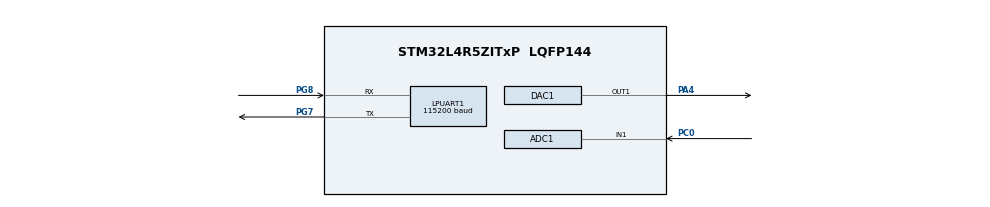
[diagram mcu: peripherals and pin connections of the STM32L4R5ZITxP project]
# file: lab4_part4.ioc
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ADC1.Channel-0\#ChannelRegularConversion=ADC_CHANNEL_1
ADC1.NbrOfConversion=1
ADC1.NbrOfConversionFlag=1
ADC1.OffsetNumber-0\#ChannelRegularConversion=ADC_OFFSET_NONE
ADC1.Rank-0\#ChannelRegularConversion=1
ADC1.SamplingTime-0\#ChannelRegularConversion=ADC_SAMPLETIME_2CYCLES_5
ADC1.master=1
DAC1.DAC_Trigger-DAC_OUT1=DAC_TRIGGER_T6_TRGO
Dma.DAC1_CH1.0.Direction=DMA_MEMORY_TO_PERIPH
Dma.DAC1_CH1.0.EventEnable=DISABLE
Dma.DAC1_CH1.0.Instance=DMA1_Channel1
Dma.DAC1_CH1.0.MemDataAlignment=DMA_MDATAALIGN_WORD
Dma.DAC1_CH1.0.MemInc=DMA_MINC_ENABLE
Dma.DAC1_CH1.0.Mode=DMA_CIRCULAR
Dma.DAC1_CH1.0.PeriphDataAlignment=DMA_PDATAALIGN_WORD
Dma.DAC1_CH1.0.PeriphInc=DMA_PINC_DISABLE
Dma.DAC1_CH1.0.Polarity=HAL_DMAMUX_REQUEST_GEN_RISING
Dma.DAC1_CH1.0.Priority=DMA_PRIORITY_LOW
Dma.DAC1_CH1.0.RequestNumber=1
Dma.DAC1_CH1.0.SignalID=NONE
Dma.DAC1_CH1.0.SyncEnable=DISABLE
Dma.DAC1_CH1.0.SyncPolarity=HAL_DMAMUX_SYNC_NO_EVENT
Dma.DAC1_CH1.0.SyncRequestNumber=1
Dma.DAC1_CH1.0.SyncSignalID=NONE
Dma.Request0=DAC1_CH1
LPUART1.BaudRate=115200
LPUART1.WordLength=UART_WORDLENGTH_8B
Mcu.Family=STM32L4
Mcu.Name=STM32L4R5ZITxP
Mcu.Package=LQFP144
NVIC.DMA1_Channel1_IRQn=true\:0\:0\:false\:false\:true\:false\:true\:true
NVIC.PriorityGroup=NVIC_PRIORITYGROUP_4
PA0.Signal=S_TIM2_CH1
PA1.Signal=ADCx_IN6
PA10.Signal=USB_OTG_FS_ID
PA13\ (JTMS/SWDIO).Signal=SYS_JTMS-SWDIO
PA14\ (JTCK/SWCLK).Signal=SYS_JTCK-SWCLK
PA3.Signal=ADCx_IN8
PA4.Signal=COMP_DAC11_group
PA5.Signal=SPI1_SCK
PA6.Signal=SPI1_MISO
PA7.Signal=SPI1_MOSI
PA8.Signal=USB_OTG_FS_SOF
PA9.Signal=USB_OTG_FS_VBUS
PB0.Signal=S_TIM3_CH3
PB1.Signal=ADCx_IN16
PB10.Signal=S_TIM2_CH3
PB12.Signal=SAI2_FS_A
PB13.Signal=SAI2_SCK_A
PB14.Signal=S_TIM15_CH1
PB15.Signal=SAI2_SD_A
PB2.Signal=COMP1_INP
PB3\ (JTDO/TRACESWO).Signal=SPI3_SCK
PB4\ (NJTRST).Signal=SPI3_MISO
PB5.Signal=SPI3_MOSI
PB6.Signal=COMP2_INP
PB8.Signal=I2C1_SCL
PB9.Signal=I2C1_SDA
PC0.Signal=ADCx_IN1
PC1.Signal=ADCx_IN2
PC10.Signal=SDMMC1_D2
PC11.Signal=SDMMC1_D3
PC12.Signal=SDMMC1_CK
PC13.Signal=SYS_WKUP2
PC14-OSC32_IN\ (PC14).Signal=RCC_OSC32_IN
PC15-OSC32_OUT\ (PC15).Signal=RCC_OSC32_OUT
PC2.Signal=ADCx_IN3
PC3.Signal=ADCx_IN4
PC4.Signal=ADCx_IN13
PC5.Signal=ADCx_IN14
PC6.Signal=SAI2_MCLK_A
PC7.Signal=S_TIM3_CH2
PC8.Signal=SDMMC1_D0
PC9.Signal=SDMMC1_D1
PD0.Signal=CAN1_RX
PD14.Signal=S_TIM4_CH3
PD15.Signal=S_TIM4_CH4
PD2.Signal=SDMMC1_CMD
PD3.Signal=USART2_CTS
PD4.Signal=USART2_RTS
PD5.Signal=USART2_TX
PD6.Signal=USART2_RX
PD8.Signal=USART3_TX
PD9.Signal=USART3_RX
PE0.Signal=S_TIM4_ETR
PE10.Signal=TIM1_CH2N
PE11.Signal=S_TIM1_CH2
PE12.Signal=TIM1_CH3N
PE13.Signal=S_TIM1_CH3
PE14.Signal=TIM1_BKIN2
PE15.Signal=TIM1_BKIN
PE2.Signal=SAI1_MCLK_A
PE3.Signal=SAI1_SD_B
PE7.Signal=S_TIM1_ETR
PE8.Signal=TIM1_CH1N
PE9.Signal=S_TIM1_CH1
PF0.Signal=I2C2_SDA
PF1.Signal=I2C2_SCL
PF2.Signal=I2C2_SMBA
PF7.Signal=SAI1_MCLK_B
PG7.Mode=Asynchronous
PG7.Signal=LPUART1_TX
PG8.Mode=Asynchronous
PG8.Signal=LPUART1_RX
PH0-OSC_IN\ (PH0).Signal=RCC_OSC_IN
PH1-OSC_OUT\ (PH1).Signal=RCC_OSC_OUT
ProjectManager.HeapSize=0x200
ProjectManager.StackSize=0x400
ProjectManager.TargetToolchain=STM32CubeIDE
RCC.ADCFreq_Value=32000000
RCC.HSE_VALUE=8000000
RCC.HSI48_VALUE=48000000
RCC.HSI_VALUE=16000000
RCC.LSE_VALUE=32768
RCC.MSI_VALUE=4000000
RCC.PLLSAI1N=16
RCC.USBFreq_Value=32000000
RCC.VCOOutputFreq_Value=32000000
SH.ADCx_IN1.0=ADC1_IN1,IN1-Single-Ended
SH.ADCx_IN13.0=ADC1_IN13
SH.ADCx_IN14.0=ADC1_IN14
SH.ADCx_IN16.0=ADC1_IN16
SH.ADCx_IN2.0=ADC1_IN2
SH.ADCx_IN3.0=ADC1_IN3
SH.ADCx_IN4.0=ADC1_IN4
SH.ADCx_IN6.0=ADC1_IN6
SH.ADCx_IN8.0=ADC1_IN8
SH.COMP_DAC11_group.0=DAC1_OUT1,DAC_OUT1
SH.S_TIM15_CH1.0=TIM15_CH1
SH.S_TIM1_CH1.0=TIM1_CH1
SH.S_TIM1_CH2.0=TIM1_CH2
SH.S_TIM1_CH3.0=TIM1_CH3
SH.S_TIM1_ETR.0=TIM1_ETR
SH.S_TIM2_CH1.0=TIM2_CH1
SH.S_TIM2_CH3.0=TIM2_CH3
SH.S_TIM3_CH2.0=TIM3_CH2
SH.S_TIM3_CH3.0=TIM3_CH3
SH.S_TIM4_CH3.0=TIM4_CH3
SH.S_TIM4_CH4.0=TIM4_CH4
SH.S_TIM4_ETR.0=TIM4_ETR
TIM6.AutoReloadPreload=TIM_AUTORELOAD_PRELOAD_ENABLE
TIM6.TIM_MasterOutputTrigger=TIM_TRGO_UPDATE
VP_TIM6_VS_ClockSourceINT.Mode=Enable_Timer
board=NUCLEO-L4R5ZI-P

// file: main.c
/* USER CODE BEGIN Header */
/**
 ******************************************************************************
 * @file           : main.c
 * @brief          : Main program body
 ******************************************************************************
 * @attention
 *
 * Copyright (c) 2026 STMicroelectronics.
 * All rights reserved.
 *
 * This software is licensed under terms that can be found in the LICENSE file
 * in the root directory of this software component.
 * If no LICENSE file comes with this software, it is provided AS-IS.
 *
 ******************************************************************************
 */
/* USER CODE END Header */
#include "main.h"

/* USER CODE BEGIN Includes */
#include "stdio.h"
#include "math.h"
/* USER CODE END Includes */

ADC_HandleTypeDef hadc1;

DAC_HandleTypeDef hdac1;
DMA_HandleTypeDef hdma_dac1_ch1;

UART_HandleTypeDef hlpuart1;

TIM_HandleTypeDef htim6;

/* USER CODE BEGIN PV */
#define NUM_SAMPLES 64
#define CLOCK_FREQ  4000000
uint32_t adcValue;
uint32_t sineLUT[NUM_SAMPLES];
/* USER CODE END PV */

void SystemClock_Config(void);
static void MX_GPIO_Init(void);
static void MX_DMA_Init(void);
static void MX_ADC1_Init(void);
static void MX_DAC1_Init(void);
static void MX_LPUART1_UART_Init(void);
static void MX_TIM6_Init(void);

/* USER CODE BEGIN 0 */
int __io_putchar(int ch)
{
	HAL_UART_Transmit(&hlpuart1, (uint8_t *)&ch, 1, 10);
	return ch;
}

void changeNote(uint32_t frequency)
{
	uint32_t TRGO_freq = frequency * NUM_SAMPLES;
	uint32_t ARR_val = (CLOCK_FREQ / TRGO_freq) - 1;

	__HAL_TIM_SET_AUTORELOAD(&htim6, ARR_val);
}
/* USER CODE END 0 */

int main(void)
{

	/* MCU Configuration--------------------------------------------------------*/

	/* Reset of all peripherals, Initializes the Flash interface and the Systick. */
	HAL_Init();

	/* Configure the system clock */
	SystemClock_Config();

	/* Initialize all configured peripherals */
	MX_GPIO_Init();
	MX_DMA_Init();
	MX_ADC1_Init();
	MX_DAC1_Init();
	MX_LPUART1_UART_Init();
	MX_TIM6_Init();
	/* USER CODE BEGIN 2 */
	for (int i = 0; i < NUM_SAMPLES; i++) {
		sineLUT[i] = (uint32_t)((sin(2 * M_PI * i / NUM_SAMPLES) + 1) * 2047.5); // Scale to 0-4095
	}
	HAL_DAC_Start_DMA(&hdac1, DAC_CHANNEL_1, sineLUT, NUM_SAMPLES, DAC_ALIGN_12B_R);
	HAL_TIM_Base_Start(&htim6);
	/* USER CODE END 2 */

	/* Infinite loop */
	/* USER CODE BEGIN WHILE */
	while (1)
	{
		HAL_ADC_Start(&hadc1);
		// Poll for conversion will block until the conversion is complete or timeout occurs.
		// In this case, we use HAL_MAX_DELAY to wait indefinitely.
		if (HAL_ADC_PollForConversion(&hadc1, HAL_MAX_DELAY) == HAL_OK) {
			adcValue = HAL_ADC_GetValue(&hadc1);
		}
		const uint32_t notes[] = {262, 294, 330, 349, 392, 440, 494, 523};
		uint32_t idx = (adcValue * 8) / 4096;
		changeNote(notes[idx]);
		/* USER CODE END WHILE */

		/* USER CODE BEGIN 3 */
		HAL_Delay(20);
	}
	HAL_ADC_Stop(&hadc1);
	/* USER CODE END 3 */
}

void SystemClock_Config(void)
{
	RCC_OscInitTypeDef RCC_OscInitStruct = {0};
	RCC_ClkInitTypeDef RCC_ClkInitStruct = {0};

	/** Configure the main internal regulator output voltage
	 */
	if (HAL_PWREx_ControlVoltageScaling(PWR_REGULATOR_VOLTAGE_SCALE1) != HAL_OK)
	{
		Error_Handler();
	}

	/** Initializes the RCC Oscillators according to the specified parameters
	 * in the RCC_OscInitTypeDef structure.
	 */
	RCC_OscInitStruct.OscillatorType = RCC_OSCILLATORTYPE_MSI;
	RCC_OscInitStruct.MSIState = RCC_MSI_ON;
	RCC_OscInitStruct.MSICalibrationValue = 0;
	RCC_OscInitStruct.MSIClockRange = RCC_MSIRANGE_6;
	RCC_OscInitStruct.PLL.PLLState = RCC_PLL_NONE;
	if (HAL_RCC_OscConfig(&RCC_OscInitStruct) != HAL_OK)
	{
		Error_Handler();
	}

	/** Initializes the CPU, AHB and APB buses clocks
	 */
	RCC_ClkInitStruct.ClockType = RCC_CLOCKTYPE_HCLK|RCC_CLOCKTYPE_SYSCLK
			|RCC_CLOCKTYPE_PCLK1|RCC_CLOCKTYPE_PCLK2;
	RCC_ClkInitStruct.SYSCLKSource = RCC_SYSCLKSOURCE_MSI;
	RCC_ClkInitStruct.AHBCLKDivider = RCC_SYSCLK_DIV1;
	RCC_ClkInitStruct.APB1CLKDivider = RCC_HCLK_DIV1;
	RCC_ClkInitStruct.APB2CLKDivider = RCC_HCLK_DIV1;

	if (HAL_RCC_ClockConfig(&RCC_ClkInitStruct, FLASH_LATENCY_0) != HAL_OK)
	{
		Error_Handler();
	}
}

static void MX_ADC1_Init(void)
{

	ADC_ChannelConfTypeDef sConfig = {0};

	/** Common config
	 */
	hadc1.Instance = ADC1;
	hadc1.Init.ClockPrescaler = ADC_CLOCK_ASYNC_DIV1;
	hadc1.Init.Resolution = ADC_RESOLUTION_12B;
	hadc1.Init.DataAlign = ADC_DATAALIGN_RIGHT;
	hadc1.Init.ScanConvMode = ADC_SCAN_DISABLE;
	hadc1.Init.EOCSelection = ADC_EOC_SINGLE_CONV;
	hadc1.Init.LowPowerAutoWait = DISABLE;
	hadc1.Init.ContinuousConvMode = DISABLE;
	hadc1.Init.NbrOfConversion = 1;
	hadc1.Init.DiscontinuousConvMode = DISABLE;
	hadc1.Init.ExternalTrigConv = ADC_SOFTWARE_START;
	hadc1.Init.ExternalTrigConvEdge = ADC_EXTERNALTRIGCONVEDGE_NONE;
	hadc1.Init.DMAContinuousRequests = DISABLE;
	hadc1.Init.Overrun = ADC_OVR_DATA_PRESERVED;
	hadc1.Init.OversamplingMode = DISABLE;
	if (HAL_ADC_Init(&hadc1) != HAL_OK)
	{
		Error_Handler();
	}

	/** Configure Regular Channel
	 */
	sConfig.Channel = ADC_CHANNEL_1;
	sConfig.Rank = ADC_REGULAR_RANK_1;
	sConfig.SamplingTime = ADC_SAMPLETIME_2CYCLES_5;
	sConfig.SingleDiff = ADC_SINGLE_ENDED;
	sConfig.OffsetNumber = ADC_OFFSET_NONE;
	sConfig.Offset = 0;
	if (HAL_ADC_ConfigChannel(&hadc1, &sConfig) != HAL_OK)
	{
		Error_Handler();
	}

}

static void MX_DAC1_Init(void)
{

	DAC_ChannelConfTypeDef sConfig = {0};

	/** DAC Initialization
	 */
	hdac1.Instance = DAC1;
	if (HAL_DAC_Init(&hdac1) != HAL_OK)
	{
		Error_Handler();
	}

	/** DAC channel OUT1 config
	 */
	sConfig.DAC_SampleAndHold = DAC_SAMPLEANDHOLD_DISABLE;
	sConfig.DAC_Trigger = DAC_TRIGGER_T6_TRGO;
	sConfig.DAC_HighFrequency = DAC_HIGH_FREQUENCY_INTERFACE_MODE_DISABLE;
	sConfig.DAC_OutputBuffer = DAC_OUTPUTBUFFER_ENABLE;
	sConfig.DAC_ConnectOnChipPeripheral = DAC_CHIPCONNECT_DISABLE;
	sConfig.DAC_UserTrimming = DAC_TRIMMING_FACTORY;
	if (HAL_DAC_ConfigChannel(&hdac1, &sConfig, DAC_CHANNEL_1) != HAL_OK)
	{
		Error_Handler();
	}

}

static void MX_LPUART1_UART_Init(void)
{

	hlpuart1.Instance = LPUART1;
	hlpuart1.Init.BaudRate = 115200;
	hlpuart1.Init.WordLength = UART_WORDLENGTH_8B;
	hlpuart1.Init.StopBits = UART_STOPBITS_1;
	hlpuart1.Init.Parity = UART_PARITY_NONE;
	hlpuart1.Init.Mode = UART_MODE_TX_RX;
	hlpuart1.Init.HwFlowCtl = UART_HWCONTROL_NONE;
	hlpuart1.Init.OneBitSampling = UART_ONE_BIT_SAMPLE_DISABLE;
	hlpuart1.Init.ClockPrescaler = UART_PRESCALER_DIV1;
	hlpuart1.AdvancedInit.AdvFeatureInit = UART_ADVFEATURE_NO_INIT;
	hlpuart1.FifoMode = UART_FIFOMODE_DISABLE;
	if (HAL_UART_Init(&hlpuart1) != HAL_OK)
	{
		Error_Handler();
	}
	if (HAL_UARTEx_SetTxFifoThreshold(&hlpuart1, UART_TXFIFO_THRESHOLD_1_8) != HAL_OK)
	{
		Error_Handler();
	}
	if (HAL_UARTEx_SetRxFifoThreshold(&hlpuart1, UART_RXFIFO_THRESHOLD_1_8) != HAL_OK)
	{
		Error_Handler();
	}
	if (HAL_UARTEx_DisableFifoMode(&hlpuart1) != HAL_OK)
	{
		Error_Handler();
	}

}

static void MX_TIM6_Init(void)
{

	TIM_MasterConfigTypeDef sMasterConfig = {0};

	htim6.Instance = TIM6;
	htim6.Init.Prescaler = 0;
	htim6.Init.CounterMode = TIM_COUNTERMODE_UP;
	htim6.Init.Period = 65535;
	htim6.Init.AutoReloadPreload = TIM_AUTORELOAD_PRELOAD_DISABLE;
	if (HAL_TIM_Base_Init(&htim6) != HAL_OK)
	{
		Error_Handler();
	}
	sMasterConfig.MasterOutputTrigger = TIM_TRGO_UPDATE;
	sMasterConfig.MasterSlaveMode = TIM_MASTERSLAVEMODE_DISABLE;
	if (HAL_TIMEx_MasterConfigSynchronization(&htim6, &sMasterConfig) != HAL_OK)
	{
		Error_Handler();
	}

}

static void MX_DMA_Init(void)
{

	/* DMA controller clock enable */
	__HAL_RCC_DMAMUX1_CLK_ENABLE();
	__HAL_RCC_DMA1_CLK_ENABLE();

	/* DMA interrupt init */
	/* DMA1_Channel1_IRQn interrupt configuration */
	HAL_NVIC_SetPriority(DMA1_Channel1_IRQn, 0, 0);
	HAL_NVIC_EnableIRQ(DMA1_Channel1_IRQn);

}

static void MX_GPIO_Init(void)
{
	GPIO_InitTypeDef GPIO_InitStruct = {0};

	/* GPIO Ports Clock Enable */
	__HAL_RCC_GPIOE_CLK_ENABLE();
	__HAL_RCC_GPIOC_CLK_ENABLE();
	__HAL_RCC_GPIOF_CLK_ENABLE();
	__HAL_RCC_GPIOH_CLK_ENABLE();
	__HAL_RCC_GPIOA_CLK_ENABLE();
	__HAL_RCC_GPIOB_CLK_ENABLE();
	__HAL_RCC_GPIOD_CLK_ENABLE();
	__HAL_RCC_GPIOG_CLK_ENABLE();
	HAL_PWREx_EnableVddIO2();

	/*Configure GPIO pins : PE2 PE3 */
	GPIO_InitStruct.Pin = GPIO_PIN_2|GPIO_PIN_3;
	GPIO_InitStruct.Mode = GPIO_MODE_AF_PP;
	GPIO_InitStruct.Pull = GPIO_NOPULL;
	GPIO_InitStruct.Speed = GPIO_SPEED_FREQ_LOW;
	GPIO_InitStruct.Alternate = GPIO_AF13_SAI1;
	HAL_GPIO_Init(GPIOE, &GPIO_InitStruct);

	/*Configure GPIO pins : PF0 PF1 PF2 */
	GPIO_InitStruct.Pin = GPIO_PIN_0|GPIO_PIN_1|GPIO_PIN_2;
	GPIO_InitStruct.Mode = GPIO_MODE_AF_OD;
	GPIO_InitStruct.Pull = GPIO_NOPULL;
	GPIO_InitStruct.Speed = GPIO_SPEED_FREQ_VERY_HIGH;
	GPIO_InitStruct.Alternate = GPIO_AF4_I2C2;
	HAL_GPIO_Init(GPIOF, &GPIO_InitStruct);

	/*Configure GPIO pin : PF7 */
	GPIO_InitStruct.Pin = GPIO_PIN_7;
	GPIO_InitStruct.Mode = GPIO_MODE_AF_PP;
	GPIO_InitStruct.Pull = GPIO_NOPULL;
	GPIO_InitStruct.Speed = GPIO_SPEED_FREQ_LOW;
	GPIO_InitStruct.Alternate = GPIO_AF13_SAI1;
	HAL_GPIO_Init(GPIOF, &GPIO_InitStruct);

	/*Configure GPIO pin : PA0 */
	GPIO_InitStruct.Pin = GPIO_PIN_0;
	GPIO_InitStruct.Mode = GPIO_MODE_AF_PP;
	GPIO_InitStruct.Pull = GPIO_NOPULL;
	GPIO_InitStruct.Speed = GPIO_SPEED_FREQ_LOW;
	GPIO_InitStruct.Alternate = GPIO_AF1_TIM2;
	HAL_GPIO_Init(GPIOA, &GPIO_InitStruct);

	/*Configure GPIO pins : PA5 PA6 PA7 */
	GPIO_InitStruct.Pin = GPIO_PIN_5|GPIO_PIN_6|GPIO_PIN_7;
	GPIO_InitStruct.Mode = GPIO_MODE_AF_PP;
	GPIO_InitStruct.Pull = GPIO_NOPULL;
	GPIO_InitStruct.Speed = GPIO_SPEED_FREQ_VERY_HIGH;
	GPIO_InitStruct.Alternate = GPIO_AF5_SPI1;
	HAL_GPIO_Init(GPIOA, &GPIO_InitStruct);

	/*Configure GPIO pin : PB0 */
	GPIO_InitStruct.Pin = GPIO_PIN_0;
	GPIO_InitStruct.Mode = GPIO_MODE_AF_PP;
	GPIO_InitStruct.Pull = GPIO_NOPULL;
	GPIO_InitStruct.Speed = GPIO_SPEED_FREQ_LOW;
	GPIO_InitStruct.Alternate = GPIO_AF2_TIM3;
	HAL_GPIO_Init(GPIOB, &GPIO_InitStruct);

	/*Configure GPIO pins : PB2 PB6 */
	GPIO_InitStruct.Pin = GPIO_PIN_2|GPIO_PIN_6;
	GPIO_InitStruct.Mode = GPIO_MODE_ANALOG;
	GPIO_InitStruct.Pull = GPIO_NOPULL;
	HAL_GPIO_Init(GPIOB, &GPIO_InitStruct);

	/*Configure GPIO pins : PE7 PE8 PE9 PE10
                           PE11 PE12 PE13 */
	GPIO_InitStruct.Pin = GPIO_PIN_7|GPIO_PIN_8|GPIO_PIN_9|GPIO_PIN_10
			|GPIO_PIN_11|GPIO_PIN_12|GPIO_PIN_13;
	GPIO_InitStruct.Mode = GPIO_MODE_AF_PP;
	GPIO_InitStruct.Pull = GPIO_NOPULL;
	GPIO_InitStruct.Speed = GPIO_SPEED_FREQ_LOW;
	GPIO_InitStruct.Alternate = GPIO_AF1_TIM1;
	HAL_GPIO_Init(GPIOE, &GPIO_InitStruct);

	/*Configure GPIO pins : PE14 PE15 */
	GPIO_InitStruct.Pin = GPIO_PIN_14|GPIO_PIN_15;
	GPIO_InitStruct.Mode = GPIO_MODE_AF_PP;
	GPIO_InitStruct.Pull = GPIO_NOPULL;
	GPIO_InitStruct.Speed = GPIO_SPEED_FREQ_LOW;
	GPIO_InitStruct.Alternate = GPIO_AF3_TIM1_COMP1;
	HAL_GPIO_Init(GPIOE, &GPIO_InitStruct);

	/*Configure GPIO pin : PB10 */
	GPIO_InitStruct.Pin = GPIO_PIN_10;
	GPIO_InitStruct.Mode = GPIO_MODE_AF_PP;
	GPIO_InitStruct.Pull = GPIO_NOPULL;
	GPIO_InitStruct.Speed = GPIO_SPEED_FREQ_LOW;
	GPIO_InitStruct.Alternate = GPIO_AF1_TIM2;
	HAL_GPIO_Init(GPIOB, &GPIO_InitStruct);

	/*Configure GPIO pins : PB12 PB13 PB15 */
	GPIO_InitStruct.Pin = GPIO_PIN_12|GPIO_PIN_13|GPIO_PIN_15;
	GPIO_InitStruct.Mode = GPIO_MODE_AF_PP;
	GPIO_InitStruct.Pull = GPIO_NOPULL;
	GPIO_InitStruct.Speed = GPIO_SPEED_FREQ_LOW;
	GPIO_InitStruct.Alternate = GPIO_AF13_SAI2;
	HAL_GPIO_Init(GPIOB, &GPIO_InitStruct);

	/*Configure GPIO pin : PB14 */
	GPIO_InitStruct.Pin = GPIO_PIN_14;
	GPIO_InitStruct.Mode = GPIO_MODE_AF_PP;
	GPIO_InitStruct.Pull = GPIO_NOPULL;
	GPIO_InitStruct.Speed = GPIO_SPEED_FREQ_LOW;
	GPIO_InitStruct.Alternate = GPIO_AF14_TIM15;
	HAL_GPIO_Init(GPIOB, &GPIO_InitStruct);

	/*Configure GPIO pins : PD8 PD9 */
	GPIO_InitStruct.Pin = GPIO_PIN_8|GPIO_PIN_9;
	GPIO_InitStruct.Mode = GPIO_MODE_AF_PP;
	GPIO_InitStruct.Pull = GPIO_NOPULL;
	GPIO_InitStruct.Speed = GPIO_SPEED_FREQ_VERY_HIGH;
	GPIO_InitStruct.Alternate = GPIO_AF7_USART3;
	HAL_GPIO_Init(GPIOD, &GPIO_InitStruct);

	/*Configure GPIO pins : PD14 PD15 */
	GPIO_InitStruct.Pin = GPIO_PIN_14|GPIO_PIN_15;
	GPIO_InitStruct.Mode = GPIO_MODE_AF_PP;
	GPIO_InitStruct.Pull = GPIO_NOPULL;
	GPIO_InitStruct.Speed = GPIO_SPEED_FREQ_LOW;
	GPIO_InitStruct.Alternate = GPIO_AF2_TIM4;
	HAL_GPIO_Init(GPIOD, &GPIO_InitStruct);

	/*Configure GPIO pin : PC6 */
	GPIO_InitStruct.Pin = GPIO_PIN_6;
	GPIO_InitStruct.Mode = GPIO_MODE_AF_PP;
	GPIO_InitStruct.Pull = GPIO_NOPULL;
	GPIO_InitStruct.Speed = GPIO_SPEED_FREQ_LOW;
	GPIO_InitStruct.Alternate = GPIO_AF13_SAI2;
	HAL_GPIO_Init(GPIOC, &GPIO_InitStruct);

	/*Configure GPIO pin : PC7 */
	GPIO_InitStruct.Pin = GPIO_PIN_7;
	GPIO_InitStruct.Mode = GPIO_MODE_AF_PP;
	GPIO_InitStruct.Pull = GPIO_NOPULL;
	GPIO_InitStruct.Speed = GPIO_SPEED_FREQ_LOW;
	GPIO_InitStruct.Alternate = GPIO_AF2_TIM3;
	HAL_GPIO_Init(GPIOC, &GPIO_InitStruct);

	/*Configure GPIO pins : PC8 PC9 PC10 PC11
                           PC12 */
	GPIO_InitStruct.Pin = GPIO_PIN_8|GPIO_PIN_9|GPIO_PIN_10|GPIO_PIN_11
			|GPIO_PIN_12;
	GPIO_InitStruct.Mode = GPIO_MODE_AF_PP;
	GPIO_InitStruct.Pull = GPIO_NOPULL;
	GPIO_InitStruct.Speed = GPIO_SPEED_FREQ_VERY_HIGH;
	GPIO_InitStruct.Alternate = GPIO_AF12_SDMMC1;
	HAL_GPIO_Init(GPIOC, &GPIO_InitStruct);

	/*Configure GPIO pins : PA8 PA10 */
	GPIO_InitStruct.Pin = GPIO_PIN_8|GPIO_PIN_10;
	GPIO_InitStruct.Mode = GPIO_MODE_AF_PP;
	GPIO_InitStruct.Pull = GPIO_NOPULL;
	GPIO_InitStruct.Speed = GPIO_SPEED_FREQ_VERY_HIGH;
	GPIO_InitStruct.Alternate = GPIO_AF10_OTG_FS;
	HAL_GPIO_Init(GPIOA, &GPIO_InitStruct);

	/*Configure GPIO pin : PA9 */
	GPIO_InitStruct.Pin = GPIO_PIN_9;
	GPIO_InitStruct.Mode = GPIO_MODE_INPUT;
	GPIO_InitStruct.Pull = GPIO_NOPULL;
	HAL_GPIO_Init(GPIOA, &GPIO_InitStruct);

	/*Configure GPIO pin : PD0 */
	GPIO_InitStruct.Pin = GPIO_PIN_0;
	GPIO_InitStruct.Mode = GPIO_MODE_AF_PP;
	GPIO_InitStruct.Pull = GPIO_NOPULL;
	GPIO_InitStruct.Speed = GPIO_SPEED_FREQ_VERY_HIGH;
	GPIO_InitStruct.Alternate = GPIO_AF9_CAN1;
	HAL_GPIO_Init(GPIOD, &GPIO_InitStruct);

	/*Configure GPIO pin : PD2 */
	GPIO_InitStruct.Pin = GPIO_PIN_2;
	GPIO_InitStruct.Mode = GPIO_MODE_AF_PP;
	GPIO_InitStruct.Pull = GPIO_NOPULL;
	GPIO_InitStruct.Speed = GPIO_SPEED_FREQ_VERY_HIGH;
	GPIO_InitStruct.Alternate = GPIO_AF12_SDMMC1;
	HAL_GPIO_Init(GPIOD, &GPIO_InitStruct);

	/*Configure GPIO pins : PD3 PD4 PD5 PD6 */
	GPIO_InitStruct.Pin = GPIO_PIN_3|GPIO_PIN_4|GPIO_PIN_5|GPIO_PIN_6;
	GPIO_InitStruct.Mode = GPIO_MODE_AF_PP;
	GPIO_InitStruct.Pull = GPIO_NOPULL;
	GPIO_InitStruct.Speed = GPIO_SPEED_FREQ_VERY_HIGH;
	GPIO_InitStruct.Alternate = GPIO_AF7_USART2;
	HAL_GPIO_Init(GPIOD, &GPIO_InitStruct);

	/*Configure GPIO pins : PB3 PB4 PB5 */
	GPIO_InitStruct.Pin = GPIO_PIN_3|GPIO_PIN_4|GPIO_PIN_5;
	GPIO_InitStruct.Mode = GPIO_MODE_AF_PP;
	GPIO_InitStruct.Pull = GPIO_NOPULL;
	GPIO_InitStruct.Speed = GPIO_SPEED_FREQ_VERY_HIGH;
	GPIO_InitStruct.Alternate = GPIO_AF6_SPI3;
	HAL_GPIO_Init(GPIOB, &GPIO_InitStruct);

	/*Configure GPIO pins : PB8 PB9 */
	GPIO_InitStruct.Pin = GPIO_PIN_8|GPIO_PIN_9;
	GPIO_InitStruct.Mode = GPIO_MODE_AF_OD;
	GPIO_InitStruct.Pull = GPIO_NOPULL;
	GPIO_InitStruct.Speed = GPIO_SPEED_FREQ_VERY_HIGH;
	GPIO_InitStruct.Alternate = GPIO_AF4_I2C1;
	HAL_GPIO_Init(GPIOB, &GPIO_InitStruct);

	/*Configure GPIO pin : PE0 */
	GPIO_InitStruct.Pin = GPIO_PIN_0;
	GPIO_InitStruct.Mode = GPIO_MODE_AF_PP;
	GPIO_InitStruct.Pull = GPIO_NOPULL;
	GPIO_InitStruct.Speed = GPIO_SPEED_FREQ_LOW;
	GPIO_InitStruct.Alternate = GPIO_AF2_TIM4;
	HAL_GPIO_Init(GPIOE, &GPIO_InitStruct);

}

void Error_Handler(void)
{
	__disable_irq();
	while (1)
	{
	}
}
